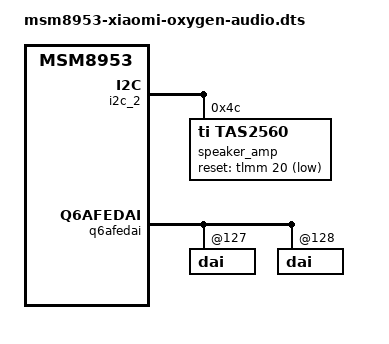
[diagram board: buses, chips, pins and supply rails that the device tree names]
// SPDX-License-Identifier: BSD-3-Clause
/*
 * TEST - Mi Max 2 loudspeaker: TI TAS2560 on Quinary MI2S.
 * Builds on the camera test DT.
 */

#include "msm8953-xiaomi-oxygen-imx386.dts"

&i2c_2 {
	/* Bottom loudspeaker ("SPK", right channel downstream) */
	speaker_amp: audio-codec@4c {
		compatible = "ti,tas2560";
		reg = <0x4c>;
		#sound-dai-cells = <0>;

		reset-gpios = <&tlmm 20 GPIO_ACTIVE_LOW>;

		ti,load-ohms = <8>;
		ti,asi-channel = <2>;	/* (L + R) / 2 */

		sound-name-prefix = "Speaker";
	};
};

&sound_card {
	pinctrl-0 = <&cdc_pdm_lines_act
		&cdc_pdm_lines_2_act
		&cdc_pdm_comp_lines_act
		&tlmm_pri_act
		&tlmm_pri_ws_default>;
	pinctrl-1 = <&cdc_pdm_lines_sus
		&cdc_pdm_lines_2_sus
		&cdc_pdm_comp_lines_sus
		&tlmm_pri_sus
		&tlmm_pri_ws_default>;

	quinary-mi2s-dai-link {
		link-name = "Quinary MI2S";

		cpu {
			sound-dai = <&q6afedai QUINARY_MI2S_RX>;
		};

		platform {
			sound-dai = <&q6routing>;
		};

		codec {
			sound-dai = <&speaker_amp>;
		};
	};

	/* Speaker protection feedback, started before playback on Android */
	quinary-mi2s-tx-dai-link {
		link-name = "Quinary MI2S TX";

		cpu {
			sound-dai = <&q6afedai QUINARY_MI2S_TX>;
		};

		platform {
			sound-dai = <&q6routing>;
		};

		codec {
			sound-dai = <&speaker_amp>;
		};
	};
};

&q6afedai {
	dai@127 {
		reg = <QUINARY_MI2S_RX>;
		/*
		 * Downstream rx-lines = <0x0c> (SD2 + SD3); for 1-2 channels
		 * the downstream q6 DAI then uses SD2 alone.
		 */
		qcom,sd-lines = <2>;
	};

	dai@128 {
		reg = <QUINARY_MI2S_TX>;
		/* Downstream qcom,msm-mi2s-tx-lines = <0x03>: amp I/V sense */
		qcom,sd-lines = <0 1>;
	};
};

/*
 * FastRPC to the ADSP: the TI SmartAmp module in the ADSP firmware reads
 * its tuning (tas2560_{aac,ssi}.bin) from /vendor/lib/rfsa/adsp through a
 * FastRPC file server (adsprpcd on Android, hexagonrpcd here).
 */
&{/soc@0/remoteproc@c200000/smd-edge} {
	fastrpc {
		compatible = "qcom,fastrpc";
		qcom,smd-channels = "fastrpcsmd-apps-dsp";
		label = "adsp";
		qcom,non-secure-domain;

		#address-cells = <1>;
		#size-cells = <0>;

		cb@1 {
			compatible = "qcom,fastrpc-compute-cb";
			reg = <1>;
		};
	};
};
